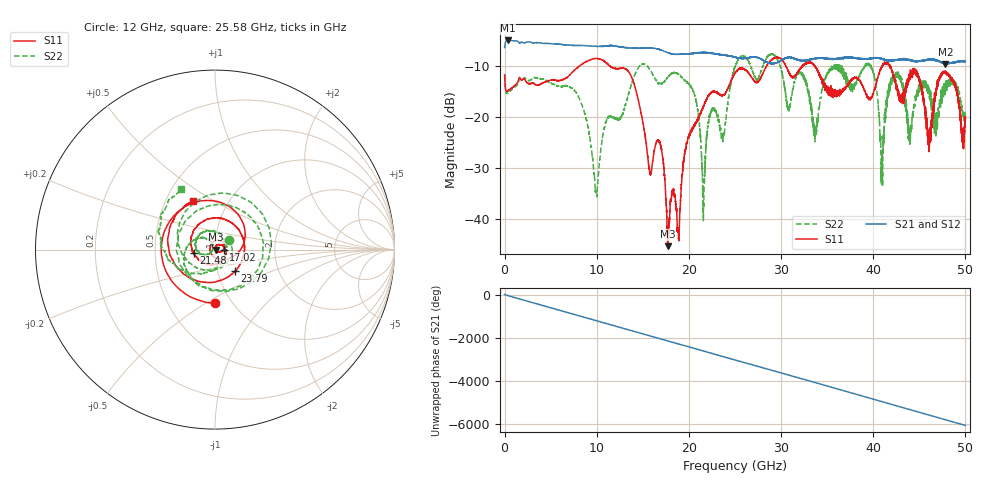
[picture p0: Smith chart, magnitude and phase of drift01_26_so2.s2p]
!Created with skrf (http://scikit-rf.org).
# Hz S RI R 50.0
!freq ReS11 ImS11 ReS21 ImS21 ReS12 ImS12 ReS22 ImS22
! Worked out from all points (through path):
!   10001 points, 300 kHz to 50 GHz, reference 50 ohm
!   highest |S21| = -5.05 dB at 360.3 MHz (marker M1); lowest = -9.6 dB at 47.84 GHz (marker M2)
!   group delay of S21, straight-line fit = 336 ps
!   lowest |S11| = -45.2 dB at 17.69 GHz (marker M3), VSWR 1.01, Z = 50.5 - j0.0785 ohm
!   |S11| at or under -10 dB: start of sweep to 8.137 GHz; 11.41 GHz to 28.43 GHz (17.02 GHz wide, 85.4 % of centre); 41.79 GHz to end of sweep (the widest 3 of 14)
!   |S22| runs from -40.3 to -7.6 dB; largest |S21 - S12| = 0.013
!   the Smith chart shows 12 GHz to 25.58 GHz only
!   S11 on the Smith chart (normalised r, x): 12 GHz: 0.84, -0.55; 17.02 GHz: 1.10, -0.00; 21.48 GHz: 0.79, -0.03; 23.79 GHz: 1.21, -0.30; 25.58 GHz: 0.69, +0.41
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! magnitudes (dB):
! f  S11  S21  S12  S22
! 300 kHz  -11.8  -6.4  -6.5  -11.8
! 360.3 MHz  -14.9  -5.1  -5.1  -15.3
! 8.335 GHz  -9.8  -6.0  -6.0  -17.5
! 9.935 GHz  -8.6  -6.2  -6.2  -34.5
! 12 GHz  -10.5  -6.1  -6.1  -20.5
! 15.78 GHz  -31.1  -6.5  -6.5  -10.8
! 16.67 GHz  -24.5  -6.8  -6.8  -13.4
! 17.02 GHz  -26.4  -6.9  -6.9  -13.6
! 17.69 GHz  -45.2  -7.4  -7.4  -12.3
! 20.5 GHz  -22.0  -7.6  -7.6  -15.1
! 21.48 GHz  -18.4  -7.4  -7.4  -32.1
! 22.46 GHz  -15.2  -7.6  -7.6  -19.0
! 23.79 GHz  -15.7  -7.9  -7.9  -23.4
! 25 GHz  -11.4  -8.3  -8.4  -10.2
! 25.58 GHz  -10.6  -8.6  -8.6  -8.2
! 33.34 GHz  -9.5  -8.7  -8.7  -19.2
! 39.49 GHz  -16.5  -8.6  -8.6  -9.9
! 40.95 GHz  -10.2  -8.7  -8.6  -28.8
! 41.67 GHz  -9.7  -8.8  -9.0  -14.7
! 46.09 GHz  -25.6  -8.8  -8.8  -15.3
! 47.84 GHz  -11.3  -9.6  -9.6  -14.0
! 50 GHz  -20.5  -9.1  -9.2  -20.1
